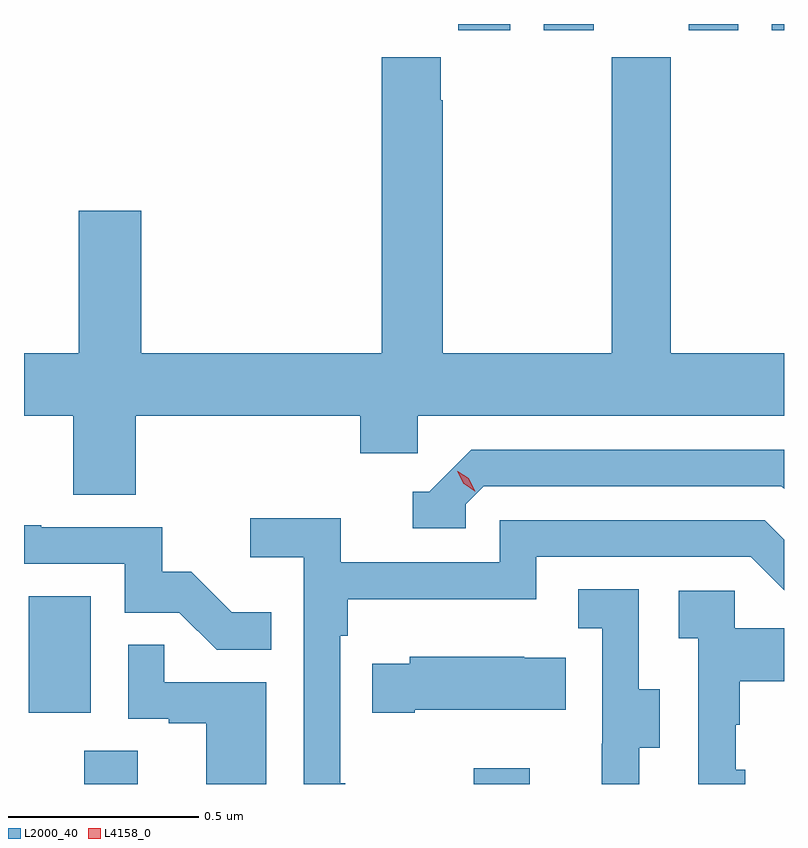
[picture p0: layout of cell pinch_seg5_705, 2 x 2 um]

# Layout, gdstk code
import gdstk
lib = gdstk.Library(unit=1e-6, precision=1e-09)
def R(c, l, rs):  # rectangles x0, y0, x1, y1
    for r in rs: c.add(gdstk.rectangle(r[:2], r[2:], *l))
def P(c, l, *ps):  # polygons
    for p in ps: c.add(gdstk.Polygon(p, *l))
L2000_40 = (2000, 40)
L4158_0 = (4158, 0)

pinch_seg5_705 = lib.new_cell('pinch_seg5_705')
R(pinch_seg5_705, L2000_40, [(1142.045,838.475,1142.185,838.562), (1143.07,838.475,1143.217,838.516), (1141.898,838.662,1142.062,838.969), (1143.029,840.459,1143.166,840.475), (1143.254,840.459,1143.385,840.475), (1143.635,840.459,1143.766,840.475), (1143.854,840.459,1143.886,840.475)])
P(pinch_seg5_705, L2000_40, [(1142.18,839.444),(1142.771,839.444),(1142.771,839.346),(1142.922,839.346),(1142.922,839.444),(1143.886,839.444),(1143.886,839.608),(1143.588,839.608),(1143.588,840.388),(1143.433,840.388),(1143.433,839.608),(1142.988,839.608),(1142.988,840.275),(1142.983,840.275),(1142.983,840.388),(1142.828,840.388),(1142.828,839.608),(1142.194,839.608),(1142.194,839.983),(1142.03,839.983),(1142.03,839.608),(1141.886,839.608),(1141.886,839.444),(1142.015,839.444),(1142.015,839.236),(1142.18,839.236)],
  [(1143.048,839.211),(1143.096,839.259),(1143.879,839.259),(1143.886,839.252),(1143.886,839.355),(1143.063,839.355),(1142.952,839.244),(1142.909,839.244),(1142.909,839.148),(1143.048,839.148)],
  [(1142.731,838.477),(1142.718,838.477),(1142.718,838.865),(1142.738,838.865),(1142.738,838.961),(1143.234,838.961),(1143.234,839.073),(1143.798,839.073),(1143.886,838.985),(1143.886,839.118),(1143.835,839.169),(1143.138,839.169),(1143.138,839.058),(1142.72,839.058),(1142.72,839.174),(1142.481,839.174),(1142.481,839.072),(1142.622,839.072),(1142.622,838.475),(1142.731,838.475)],
  [(1142.537,838.927),(1142.433,838.927),(1142.326,839.034),(1142.25,839.034),(1142.25,839.151),(1141.931,839.151),(1141.931,839.156),(1141.886,839.156),(1141.886,839.055),(1142.151,839.055),(1142.151,838.926),(1142.295,838.926),(1142.393,838.828),(1142.537,838.828)],
  [(1143.505,838.57),(1143.559,838.57),(1143.559,838.725),(1143.504,838.725),(1143.504,838.988),(1143.345,838.988),(1143.345,838.885),(1143.408,838.885),(1143.408,838.581),(1143.407,838.581),(1143.407,838.475),(1143.505,838.475)],
  [(1143.784,838.512),(1143.759,838.512),(1143.759,838.631),(1143.769,838.631),(1143.769,838.745),(1143.886,838.745),(1143.886,838.885),(1143.756,838.885),(1143.756,838.983),(1143.609,838.983),(1143.609,838.859),(1143.66,838.859),(1143.66,838.475),(1143.784,838.475)],
  [(1142.524,838.743),(1142.255,838.743),(1142.255,838.841),(1142.16,838.841),(1142.16,838.647),(1142.267,838.647),(1142.267,838.635),(1142.366,838.635),(1142.366,838.475),(1142.524,838.475)],
  [(1142.914,838.67),(1143.311,838.67),(1143.311,838.807),(1143.203,838.807),(1143.203,838.81),(1142.901,838.81),(1142.901,838.792),(1142.803,838.792),(1142.803,838.663),(1142.914,838.663)])
P(pinch_seg5_705, L4158_0, [(1143.072,839.246),(1143.042,839.266),(1143.026,839.298),(1143.026,839.298),(1143.027,839.298),(1143.057,839.279),(1143.073,839.246),(1143.073,839.246)])

lib.write_gds('pinch_seg5_705.gds')
